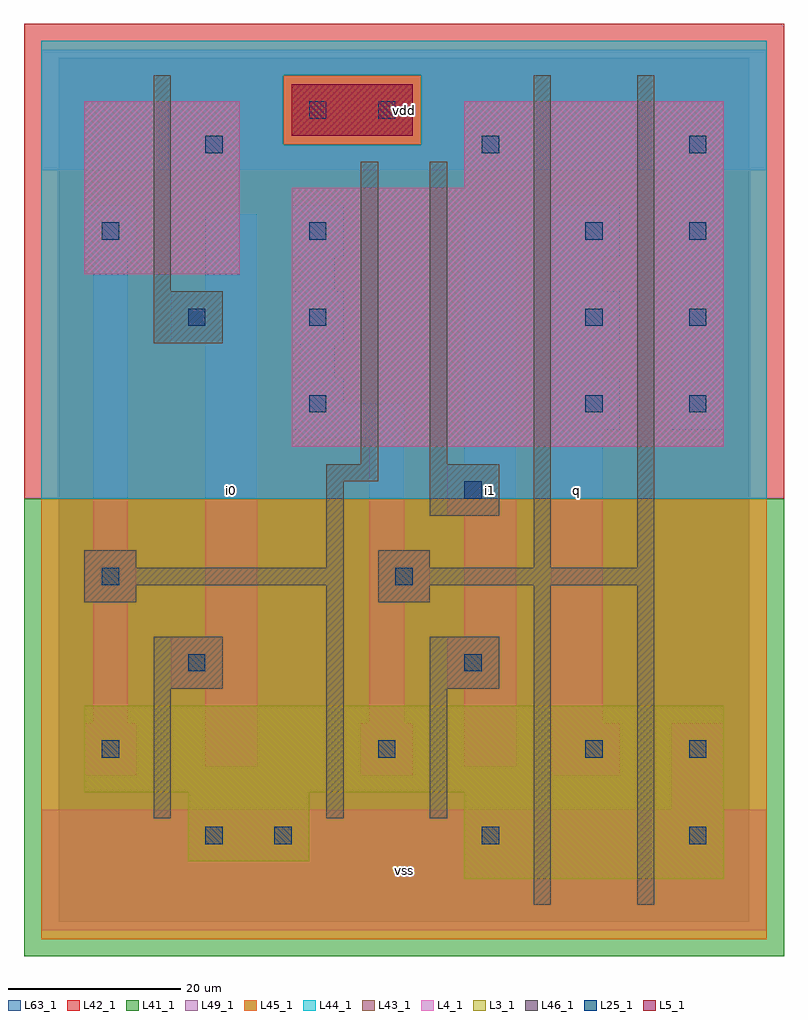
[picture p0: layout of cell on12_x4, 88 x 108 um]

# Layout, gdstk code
import gdstk
lib = gdstk.Library(unit=1e-6, precision=1e-09)
def R(c, l, rs):  # rectangles x0, y0, x1, y1
    for r in rs: c.add(gdstk.rectangle(r[:2], r[2:], *l))
def A(c, l, x, y, w, h, nx, ny, dx, dy):  # array of equal rectangles
    R(c, l, [(x+i*dx, y+j*dy, x+i*dx+w, y+j*dy+h) for i in range(nx) for j in range(ny)])
L3_1 = (3, 1)
L4_1 = (4, 1)
L5_1 = (5, 1)
L25_1 = (25, 1)
L41_1 = (41, 1)
L42_1 = (42, 1)
L43_1 = (43, 1)
L44_1 = (44, 1)
L45_1 = (45, 1)
L46_1 = (46, 1)
L49_1 = (49, 1)
L63_1 = (63, 1)

on12_x4 = lib.new_cell('on12_x4')
R(on12_x4, L3_1, [(47,5,77,15), (15,7,29,15), (3,15,77,25)])
R(on12_x4, L4_1, [(27,55,77,85), (3,75,21,95), (47,85,77,95)])
R(on12_x4, L5_1, [(27,91,41,97)])
A(on12_x4, L25_1, 25, 9, 2, 2, 3, 1, 24, 0)
A(on12_x4, L25_1, 29, 59, 2, 2, 1, 3, 0, 10)
A(on12_x4, L25_1, 61, 59, 2, 2, 1, 3, 0, 10)
A(on12_x4, L25_1, 73, 59, 2, 2, 1, 4, 0, 10)
R(on12_x4, L25_1, [(17,9,19,11), (5,19,7,21), (37,19,39,21), (61,19,63,21), (73,19,75,21), (15,29,17,31), (47,29,49,31), (5,39,7,41), (39,39,41,41), (47,49,49,51), (15,69,17,71), (5,79,7,81), (17,89,19,91), (49,89,51,91), (29,93,31,95), (37,93,39,95)])
R(on12_x4, L41_1, [(-4,-4,84,49)])
R(on12_x4, L42_1, [(-4,49,84,104)])
R(on12_x4, L43_1, [(47,5,77,15), (15,7,29,15), (3,15,77,25), (27,55,77,85), (3,75,21,95), (47,85,77,95), (27,91,41,97)])
R(on12_x4, L44_1, [(-2,49,82,90), (-2,90,26,98), (42,90,82,98), (-2,98,82,102)])
R(on12_x4, L45_1, [(-2,-2,82,49), (26,90,42,98)])
R(on12_x4, L46_1, [(55,2,57,39), (67,2,69,39), (11,12,13,27), (31,12,33,39), (43,12,45,27), (11,27,19,33), (43,27,51,33), (3,37,9,39), (37,37,43,39), (3,39,33,41), (37,39,69,41), (3,41,9,43), (31,41,33,51), (37,41,43,43), (55,41,57,98), (67,41,69,98), (43,47,51,53), (31,51,37,53), (35,53,37,88), (43,53,45,88), (11,67,19,73), (11,73,13,98)])
A(on12_x4, L49_1, 57, 57, 8, 6, 1, 3, 0, 10)
R(on12_x4, L49_1, [(-2,-1,82,13), (71,13,77,23), (3,17,9,23), (35,17,41,23), (57,17,65,23), (17,18,23,27), (47,18,53,27), (4,23,8,37), (36,23,40,37), (57,23,63,57), (13,27,23,33), (45,27,53,33), (17,33,23,67), (47,33,53,47), (3,37,9,43), (36,37,43,43), (4,43,8,77), (36,43,40,56), (45,47,53,53), (47,53,53,82), (28,56,40,57), (27,57,40,60), (71,57,77,87), (27,60,33,63), (28,63,32,67), (57,63,63,67), (13,67,23,73), (27,67,33,73), (17,73,23,82), (28,73,32,77), (57,73,63,77), (3,77,9,83), (27,77,33,83), (-2,87,82,101)])
R(on12_x4, L63_1, [(0,0,80,100)])
on12_x4.add(gdstk.Label('i0', (20,50), layer=49, texttype=1))
on12_x4.add(gdstk.Label('i0', (20,50), layer=49, texttype=1))
on12_x4.add(gdstk.Label('vss', (40,6), layer=49, texttype=1))
on12_x4.add(gdstk.Label('vss', (40,6), layer=49, texttype=1))
on12_x4.add(gdstk.Label('i1', (50,50), layer=49, texttype=1))
on12_x4.add(gdstk.Label('q', (60,50), layer=49, texttype=1))
on12_x4.add(gdstk.Label('i1', (50,50), layer=49, texttype=1))
on12_x4.add(gdstk.Label('q', (60,50), layer=49, texttype=1))
on12_x4.add(gdstk.Label('vdd', (40,94), layer=49, texttype=1))
on12_x4.add(gdstk.Label('vdd', (40,94), layer=49, texttype=1))

lib.write_gds('on12_x4.gds')
